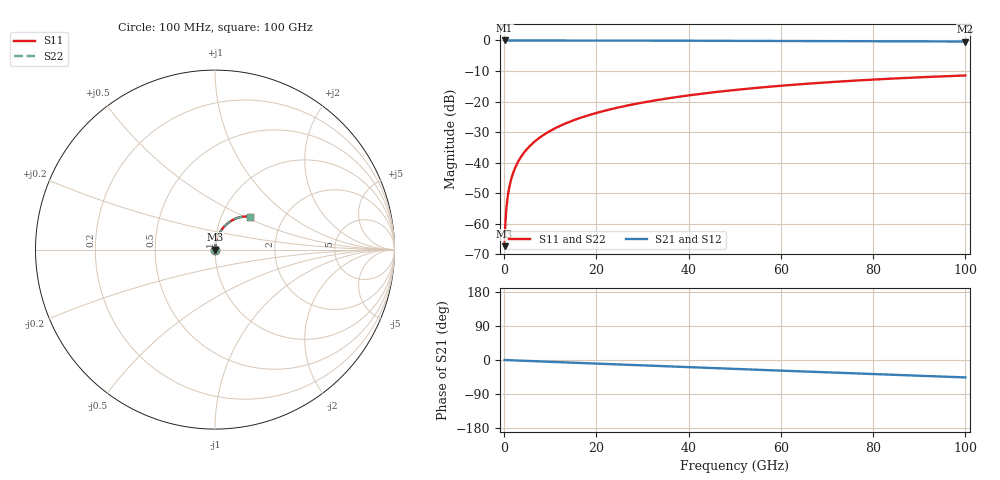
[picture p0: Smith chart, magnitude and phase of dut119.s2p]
! Touchstone file exported from HFSS 2026.1.0
!  File:  C:/ffzhzh/LocalFiles/Ansys_Project_Files/temp_train_TSV_119_1783506067_9504.aedt
!  Generated:  06:22:33 PM Jul  8, 2026
!  Design:  TSV
!  Project:  temp_train_TSV_119_1783506067_9504
! Variables:
!  h_bsmrdl = 2um
!  h_ox = 20um
!  h_rdl = 5um
!  h_sub = 84.51um
!  h_tmrdl = 5um
!  h_tsv = 84.51um
!  h_via = 3um
!  l_bsmrdl = 300um
!  l_sub = 414.66um
!  l_tmrdl = 200um
!  m_sub = 200um
!  pitch = 52.15um
!  r_tsv = 7.33um
!  s_tmrdl = 10um
!  w_bsmrdl = 18um
!  w_sub = 500um
!  w_tmrdl = 12um
!  x_tsv_center1 = 206um
!  x_tsv_center2 = 524um
!  x_tsv_center3 = 736um
!  x_tsv_center4 = 1054um
!  x_tsv_center5 = 1266um
!  x_tsv_center6 = 1584um
# GHz S MA R 50.000000
! Terminal data exported
! Port[1] = TSV1_1_T1
! Port[2] = TSV1_1_T2
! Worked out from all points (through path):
!   1000 points, 100 MHz to 100 GHz, reference 50 ohm
!   highest |S21| = 0.00 dB at 100 MHz (marker M1); lowest = -0.4 dB at 100 GHz (marker M2)
!   group delay of S21, straight-line fit = 1.28 ps
!   lowest |S11| = -67.4 dB at 100 MHz (marker M3), VSWR 1.00, Z = 50 + j0.0371 ohm
!   |S11| at or under -10 dB: start of sweep to end of sweep
!   |S22| runs from -67.4 to -11.5 dB; largest |S21 - S12| = 5.8e-15
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0.1  0.0004279 60.0  0.9998 -0.1  0.9998 -0.1  0.0004279 60.0
! Gamma 0 0 0 0
! Port Impedance 50 0 50 0
0.3  0.001124 77.4  0.9998 -0.1  0.9998 -0.1  0.001124 77.4
0.7  0.002518 82.6  0.9997 -0.3  0.9997 -0.3  0.002518 82.6
0.8  0.002862 83.1  0.9997 -0.4  0.9997 -0.4  0.002862 83.1
1  0.003548 83.8  0.9996 -0.5  0.9996 -0.5  0.003548 83.8
1.3  0.004572 84.4  0.9996 -0.6  0.9996 -0.6  0.004572 84.4
1.7  0.005927 84.7  0.9995 -0.8  0.9995 -0.8  0.005927 84.7
2.3  0.007937 85.0  0.9994 -1.1  0.9994 -1.1  0.007937 85.0
3  0.01026 85.0  0.9993 -1.5  0.9993 -1.5  0.01026 85.0
3.8  0.01289 85.0  0.9992 -1.8  0.9992 -1.8  0.01289 85.0
4.8  0.01616 84.8  0.9991 -2.3  0.9991 -2.3  0.01616 84.8
6  0.02008 84.6  0.9989 -2.9  0.9989 -2.9  0.02008 84.6
8.8  0.02919 83.7  0.9985 -4.2  0.9985 -4.2  0.02919 83.7
12.4  0.0408 82.2  0.9979 -5.9  0.9979 -5.9  0.0408 82.3
16.8  0.05487 80.4  0.997 -8.0  0.997 -8.0  0.05487 80.4
24.2  0.07817 77.2  0.9951 -11.5  0.9951 -11.5  0.07817 77.2
33.4  0.1064 73.1  0.9922 -15.8  0.9922 -15.8  0.1064 73.1
41.2  0.1295 69.6  0.9893 -19.4  0.9893 -19.4  0.1295 69.6
50.1  0.1547 65.5  0.9854 -23.5  0.9854 -23.5  0.1547 65.5
66.7  0.198 58.1  0.9773 -31.1  0.9773 -31.1  0.198 58.1
83.4  0.2359 50.7  0.9686 -38.6  0.9686 -38.6  0.2359 50.7
100  0.2669 43.4  0.9603 -45.9  0.9603 -45.9  0.2669 43.5
